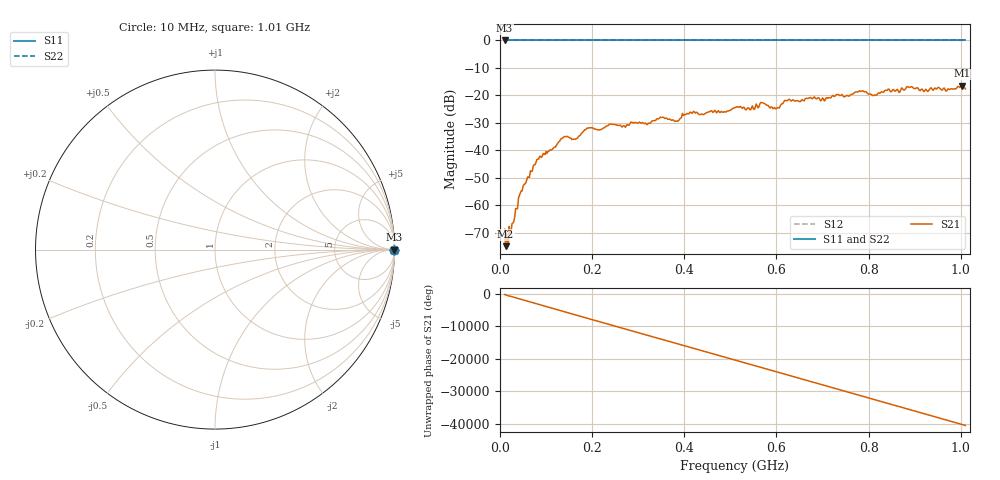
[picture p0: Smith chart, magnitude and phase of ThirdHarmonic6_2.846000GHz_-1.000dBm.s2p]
! 8/17/2025 7:40:35 AM
! C:\ANRITSUVNA\TEMP\TEMP.S2P
! CHANNEL.1
! TR.MEASUREMENT
! RAW.DATA
! RF.CORRECTION.OFF
! AVERAGING.OFF
! IF.BANDWIDTH: 5KHZ
! SWEEPTYPE:  FREQ.SWEEP(Linear)
! Reference Plane Port Info
! PORT:  PORT1  PORT2
! DISTANCE:  0  m  0  m
! TIME:  0  s  0  s
! PHASE.OFFSET:  0  deg.  0  deg.
! LOSS:  0  dB  0  dB
! REF.LOSS:  0  dB  0  dB
! REF.FREQ:  0  Hz  0  Hz
! Power Info
! POWER:  -20  dBm  -20  dBm
! EFF.POWER:  -20  dBm  -20  dBm
! SOURCE.ATTEN:  0  dB  0  dB
! TEST.ATTEN:  0  dB  0  dB
# GHZ S RI R 50.0
! FREQ.GHZ  S11RE  S11IM  S21RE  S21IM  S12RE  S12IM  S22RE  S22IM
!; PortSelection: Port_12
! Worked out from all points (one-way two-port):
!   501 points, 10 MHz to 1.01 GHz, reference 50 ohm
!   highest |S21| = -16.49 dB at 1.002 GHz (marker M1); lowest = -74.8 dB at 12 MHz (marker M2)
!   lowest |S11| = 0.0 dB at 10 MHz (marker M3)
!   |S11| at or under -10 dB: nowhere
!   |S22| runs from 0.0 to 0.0 dB; largest |S21 - S12| = 1.1
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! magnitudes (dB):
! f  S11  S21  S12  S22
! 10 MHz  0.0  -68.7  0.0  0.0
! 12 MHz  0.0  -74.8  0.0  0.0
! 20 MHz  0.0  -67.6  0.0  0.0
! 46 MHz  0.0  -54.7  0.0  0.0
! 84 MHz  0.0  -43.1  0.0  0.0
! 136 MHz  0.0  -35.4  0.0  0.0
! 162 MHz  0.0  -36.0  0.0  0.0
! 178 MHz  0.0  -33.6  0.0  0.0
! 194 MHz  0.0  -31.8  0.0  0.0
! 322 MHz  0.0  -30.1  0.0  0.0
! 344 MHz  0.0  -28.5  0.0  0.0
! 384 MHz  0.0  -29.3  0.0  0.0
! 416 MHz  0.0  -26.5  0.0  0.0
! 510 MHz  0.0  -24.4  0.0  0.0
! 548 MHz  0.0  -23.8  0.0  0.0
! 570 MHz  0.0  -22.7  0.0  0.0
! 602 MHz  0.0  -24.4  0.0  0.0
! 622 MHz  0.0  -21.9  0.0  0.0
! 678 MHz  0.0  -21.2  0.0  0.0
! 844 MHz  0.0  -17.7  0.0  0.0
! 1.002 GHz  0.0  -16.5  0.0  0.0
! 1.01 GHz  0.0  -17.6  0.0  0.0
